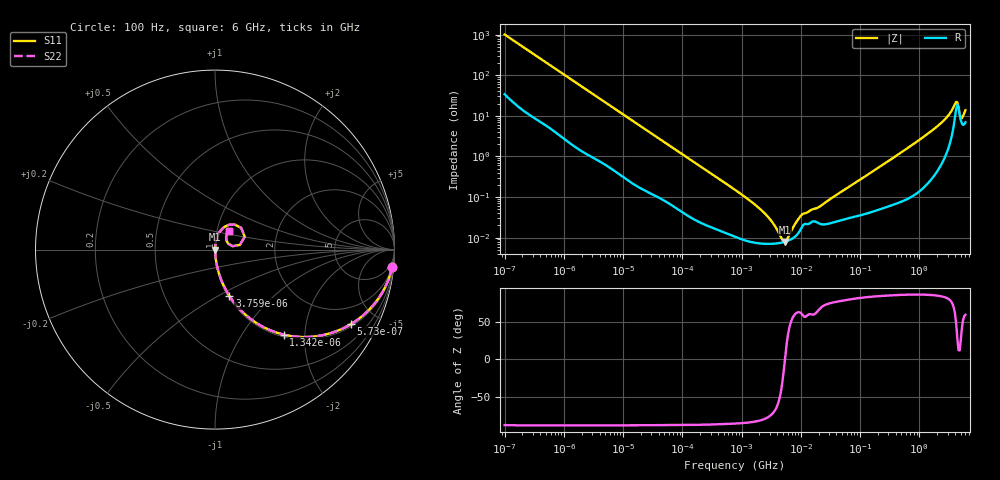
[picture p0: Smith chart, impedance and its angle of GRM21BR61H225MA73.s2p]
!Murata Part Number: GRM21BR61H225MA73
!These Parameters are Measured in Series Mode Connection
!Data Generated on Mar 30, 2021
!  o--ll--o
!Port1  Port2
!  o------o
!Operation Temp=25[degC], DC Bias Voltage=0[V]
!Freq. Start=100[Hz] Stop=6[GHz] 401[Steps]
# Hz S RI R 50
!Freq.(Hz) S11(Real) S11(Imag) S21(Real) S21(Imag) S12(Real) S12(Imag) S22(Real) S22(Imag)
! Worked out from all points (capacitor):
!   401 points, 100 Hz to 6 GHz, reference 50 ohm
!   read as one part in series: C = 1.57 uF near 109 Hz
!   lowest |Z| = 7.87 mohm at 5.312 MHz (marker M1)
!   series resonance near 5.39 MHz, so ESL is about 550 pH
!   S11 on the Smith chart (normalised r, x): 100 Hz: 2, -20; 573 Hz: 1.10, -3.61; 1.342 kHz: 1.04, -1.56; 3.759 kHz: 1.02, -0.57; 6 GHz: 1.14, +0.24
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100  0.987 -0.0975  0.013 0.0975  0.013 0.0975  0.987 -0.0975
280  0.9242 -0.2514  0.0758 0.2514  0.0758 0.2514  0.9242 -0.2514
573  0.759 -0.414  0.241 0.414  0.241 0.414  0.759 -0.414
1342  0.3822 -0.4734  0.6178 0.4734  0.6178 0.4734  0.3822 -0.4734
2008  0.222 -0.4031  0.778 0.4031  0.778 0.4031  0.222 -0.4031
3759  0.0805 -0.2584  0.9195 0.2584  0.9195 0.2584  0.0805 -0.2584
10527  0.0134 -0.1015  0.9866 0.1015  0.9866 0.1015  0.0134 -0.1015
40335  0.00172 -0.0275  0.9983 0.0275  0.9983 0.0275  0.00172 -0.0275
774597  0.000107 -0.0015  0.9999 0.0015  0.9999 0.0015  0.000107 -0.0015
2268635  7.1e-05 -0.000438  0.9999 0.000438  0.9999 0.000438  7.1e-05 -0.000438
3245845  7.03e-05 -0.000238  0.9999 0.000238  0.9999 0.000238  7.03e-05 -0.000238
4643984  7.48e-05 -6.76e-05  0.9999 6.76e-05  0.9999 6.76e-05  7.48e-05 -6.76e-05
5311619  7.84e-05 -6.6e-06  0.9999 6.6e-06  0.9999 6.6e-06  7.84e-05 -6.6e-06
6353432  8.61e-05 7.57e-05  0.9999 -7.57e-05  0.9999 -7.57e-05  8.61e-05 7.57e-05
9941735  0.000159 0.000303  0.9998 -0.000303  0.9998 -0.000303  0.000159 0.000303
1.555665e7  0.000246 0.00043  0.9998 -0.00043  0.9998 -0.00043  0.000246 0.00043
3.124326e8  0.00066 0.00795  0.9993 -0.00795  0.9993 -0.00795  0.00066 0.00795
1.95892e9  0.00685 0.0527  0.9932 -0.0527  0.9932 -0.0527  0.00685 0.0527
3.205649e9  0.0291 0.1027  0.9709 -0.1027  0.9709 -0.1027  0.0291 0.1027
4.009986e9  0.1081 0.14  0.8919 -0.14  0.8919 -0.14  0.1081 0.14
5.245841e9  0.0632 0.0516  0.9368 -0.0516  0.9368 -0.0516  0.0632 0.0516
6e9  0.076 0.1026  0.924 -0.1026  0.924 -0.1026  0.076 0.1026
